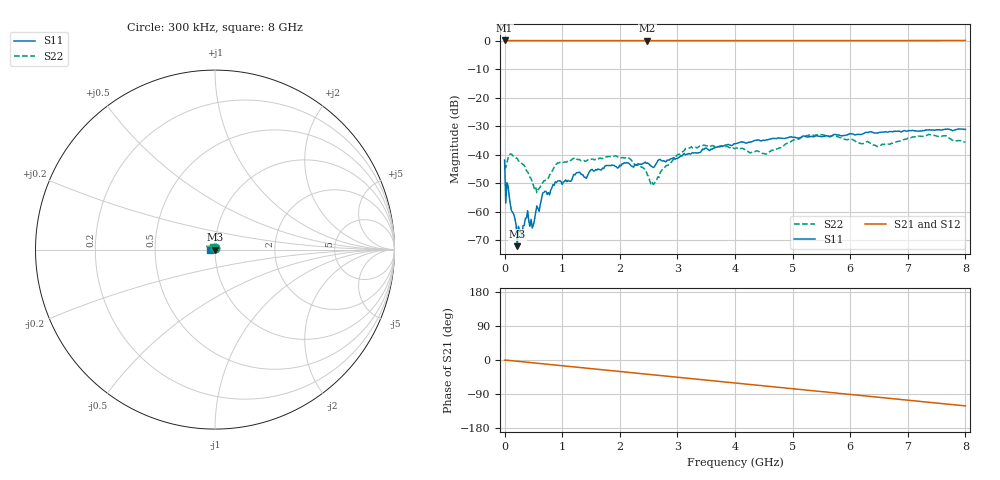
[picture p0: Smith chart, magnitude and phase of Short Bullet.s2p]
#  HZ  S  DB  R  50.00
! Rohde & Schwarz Vector Network Analyzer
! Rohde-Schwarz,ZNB8-4Port,1311601044101761,1.95
! Created: UTC 2/26/2014, 9:18:24 AM
! freq[Hz]  db:S11  ang:S11  db:S21  ang:S21  db:S12  ang:S12  db:S22  ang:S22
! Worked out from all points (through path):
!   401 points, 300 kHz to 8 GHz, reference 50 ohm
!   highest |S21| = 0.03 dB at 300 kHz (marker M1); lowest = 0.0 dB at 2.48 GHz (marker M2)
!   group delay of S21, straight-line fit = 42.1 ps
!   lowest |S11| = -72.1 dB at 220.3 MHz (marker M3), VSWR 1.00, Z = 50 - j0.0159 ohm
!   |S11| at or under -10 dB: start of sweep to end of sweep
!   |S22| runs from -53.4 to -32.9 dB; largest |S21 - S12| = 0.0039
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300000  -41.92 103.6  0.03 -0.3  0.03 -0.3  -43.75 86.0
6.029775e7  -50.99 -101.9  -0.02 -0.9  -0.02 -0.9  -41.21 1.4
1.002962e8  -57.59 -94.9  -0.03 -1.5  -0.03 -1.5  -39.76 5.4
2.202918e8  -72.11 -140.1  -0.03 -3.3  -0.03 -3.3  -41.33 10.7
2.602902e8  -66.63 -113.5  -0.03 -3.9  -0.03 -3.9  -42.58 10.1
3.802858e8  -62.18 -123.2  -0.03 -5.8  -0.02 -5.7  -45.64 15.2
4.80282e8  -65.73 -46.5  -0.03 -7.3  -0.02 -7.2  -49.68 38.0
5.60279e8  -58.02 -79.2  -0.03 -8.5  -0.02 -8.5  -53.37 75.8
6.802745e8  -53.31 -60.4  -0.03 -10.3  -0.03 -10.3  -49.22 132.9
8.80267e8  -49.52 -61.1  -0.03 -13.4  -0.03 -13.3  -43.65 165.1
1.34025e9  -46.99 -84.7  -0.03 -20.3  -0.03 -20.3  -42.06 -152.9
2.14022e9  -42.85 -112.7  -0.03 -32.5  -0.03 -32.4  -40.99 -87.6
2.480207e9  -42.94 -105.7  -0.03 -37.6  -0.03 -37.6  -47.24 -105.6
2.580203e9  -44.51 -101.7  -0.03 -39.1  -0.03 -39.0  -50.46 -136.1
2.6802e9  -41.78 -101.5  -0.03 -40.7  -0.03 -40.6  -48.01 -149.4
3.180181e9  -39.82 -111.7  -0.03 -48.3  -0.03 -48.1  -37.91 175.0
4.00015e9  -36.21 -134.7  -0.03 -60.7  -0.02 -60.5  -37.92 -157.1
4.52013e9  -35.07 -131.3  -0.02 -68.6  -0.03 -68.4  -39.75 -172.7
5.3401e9  -33.69 -137.8  -0.02 -81.0  -0.02 -80.8  -33.17 145.6
6.68005e9  -31.94 -157.4  -0.01 -101.2  -0.01 -101.1  -36.35 126.7
7.380023e9  -31.26 -162.3  0.00 -111.8  0.00 -111.6  -33.04 109.8
8e9  -31.16 -177.9  0.02 -121.1  0.02 -120.9  -35.65 122.4
